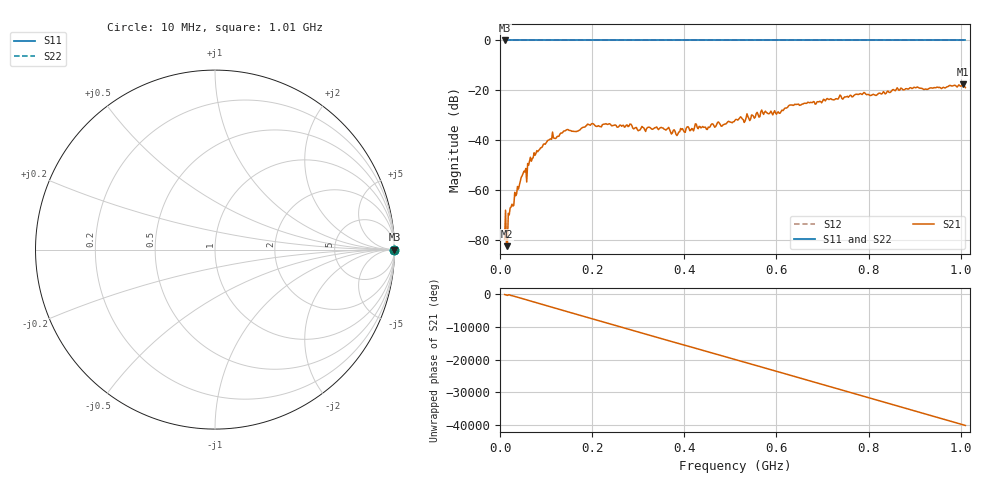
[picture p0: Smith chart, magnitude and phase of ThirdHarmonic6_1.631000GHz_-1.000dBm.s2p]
! 8/16/2025 7:29:56 PM
! C:\ANRITSUVNA\TEMP\TEMP.S2P
! CHANNEL.1
! TR.MEASUREMENT
! RAW.DATA
! RF.CORRECTION.OFF
! AVERAGING.OFF
! IF.BANDWIDTH: 5KHZ
! SWEEPTYPE:  FREQ.SWEEP(Linear)
! Reference Plane Port Info
! PORT:  PORT1  PORT2
! DISTANCE:  0  m  0  m
! TIME:  0  s  0  s
! PHASE.OFFSET:  0  deg.  0  deg.
! LOSS:  0  dB  0  dB
! REF.LOSS:  0  dB  0  dB
! REF.FREQ:  0  Hz  0  Hz
! Power Info
! POWER:  -20  dBm  -20  dBm
! EFF.POWER:  -20  dBm  -20  dBm
! SOURCE.ATTEN:  0  dB  0  dB
! TEST.ATTEN:  0  dB  0  dB
# GHZ S RI R 50.0
! FREQ.GHZ  S11RE  S11IM  S21RE  S21IM  S12RE  S12IM  S22RE  S22IM
!; PortSelection: Port_12
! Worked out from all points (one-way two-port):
!   501 points, 10 MHz to 1.01 GHz, reference 50 ohm
!   highest |S21| = -17.57 dB at 1.004 GHz (marker M1); lowest = -82.4 dB at 16 MHz (marker M2)
!   lowest |S11| = 0.0 dB at 10 MHz (marker M3)
!   |S11| at or under -10 dB: nowhere
!   |S22| runs from 0.0 to 0.0 dB; largest |S21 - S12| = 1.1
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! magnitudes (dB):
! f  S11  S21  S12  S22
! 10 MHz  0.0  -79.6  0.0  0.0
! 12 MHz  0.0  -68.0  0.0  0.0
! 16 MHz  0.0  -82.4  0.0  0.0
! 18 MHz  0.0  -69.2  0.0  0.0
! 22 MHz  0.0  -67.1  0.0  0.0
! 48 MHz  0.0  -54.2  0.0  0.0
! 76 MHz  0.0  -46.0  0.0  0.0
! 110 MHz  0.0  -39.4  0.0  0.0
! 144 MHz  0.0  -35.8  0.0  0.0
! 178 MHz  0.0  -35.0  0.0  0.0
! 234 MHz  0.0  -33.6  0.0  0.0
! 282 MHz  0.0  -33.5  0.0  0.0
! 302 MHz  0.0  -35.9  0.0  0.0
! 344 MHz  0.0  -35.7  0.0  0.0
! 386 MHz  0.0  -37.4  0.0  0.0
! 408 MHz  0.0  -34.5  0.0  0.0
! 452 MHz  0.0  -34.7  0.0  0.0
! 510 MHz  0.0  -32.0  0.0  0.0
! 678 MHz  0.0  -24.9  0.0  0.0
! 844 MHz  0.0  -20.8  0.0  0.0
! 1.004 GHz  0.0  -17.6  0.0  0.0
! 1.01 GHz  0.0  -18.9  0.0  0.0
